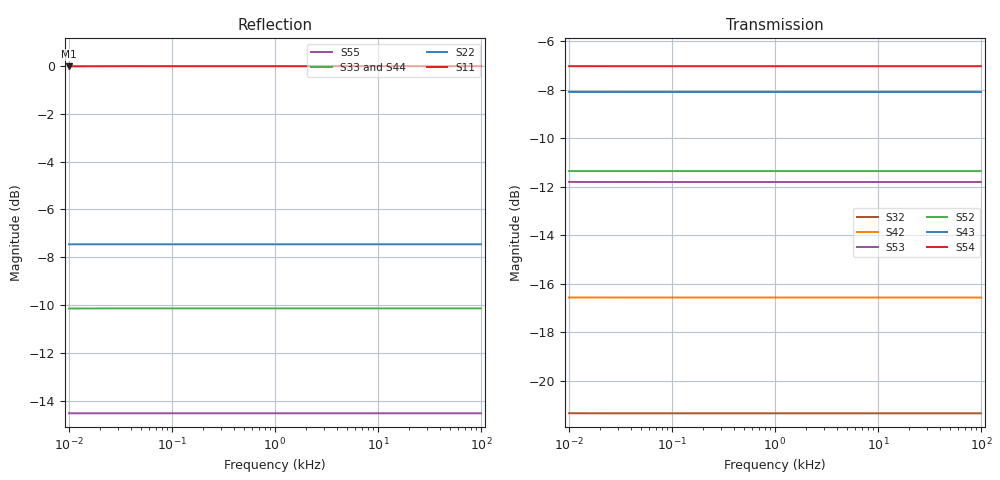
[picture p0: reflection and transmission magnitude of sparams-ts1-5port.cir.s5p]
# Hz S RI R 50
!  Freq  ReS11  ImS11  ReS12  ImS12  ReS13  ImS13  ReS14  ImS14
!  ReS15  ImS15  ReS21  ImS21  ReS22  ImS22  ReS23  ImS23
!  ReS24  ImS24  ReS25  ImS25  ReS31  ImS31  ReS32  ImS32
!  ReS33  ImS33  ReS34  ImS34  ReS35  ImS35  ReS41  ImS41
!  ReS42  ImS42  ReS43  ImS43  ReS44  ImS44  ReS45  ImS45
!  ReS51  ImS51  ReS52  ImS52  ReS53  ImS53  ReS54  ImS54
!  ReS55  ImS55
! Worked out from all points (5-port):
!   41 points, 10 Hz to 100 kHz, reference 50 ohm
!   strongest paths, dB at 10 Hz, 100 Hz, 1 kHz, 10 kHz, 100 kHz:
!     S54: -7.0, -7.0, -7.0, -7.0, -7.0
!     S43: -8.1, -8.1, -8.1, -8.1, -8.1
!     S52: -11.3, -11.3, -11.3, -11.3, -11.3
!     S53: -11.8, -11.8, -11.8, -11.8, -11.8
!     S42: -16.6, -16.6, -16.6, -16.6, -16.6
!     S32: -21.3, -21.3, -21.3, -21.3, -21.3
!   lowest |S11| = 0.0 dB at 10 Hz (marker M1)
!   |S11| at or under -10 dB: nowhere
